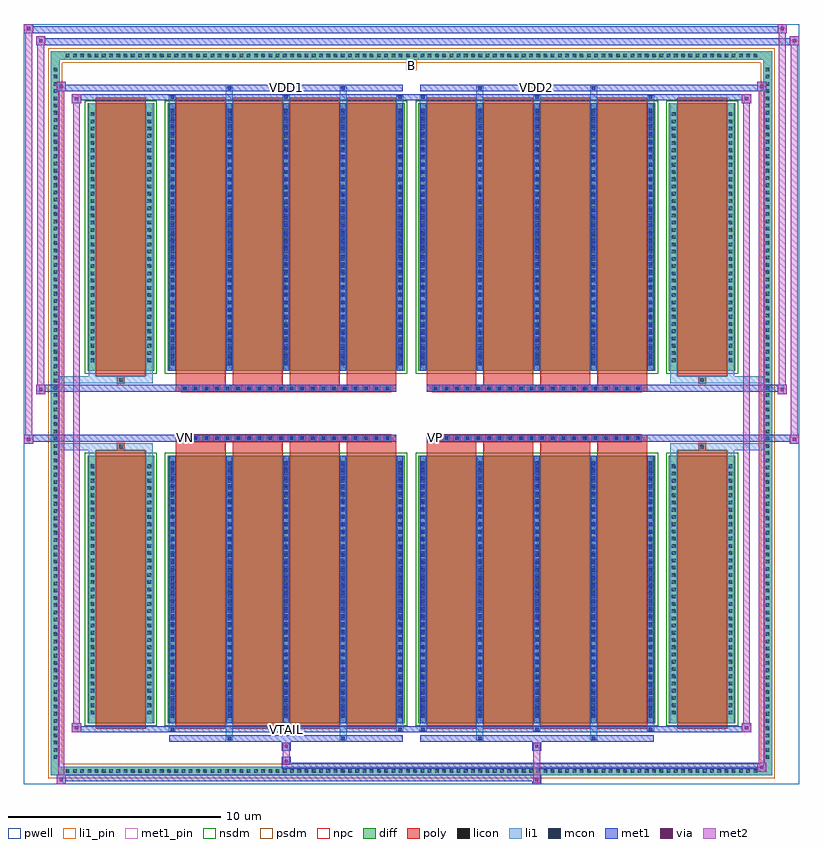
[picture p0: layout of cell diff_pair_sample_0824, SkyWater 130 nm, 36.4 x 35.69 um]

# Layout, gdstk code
import gdstk
lib = gdstk.Library(unit=1e-6, precision=5e-09)
def R(c, l, rs):  # rectangles x0, y0, x1, y1
    for r in rs: c.add(gdstk.rectangle(r[:2], r[2:], *l))
def A(c, l, x, y, w, h, nx, ny, dx, dy):  # array of equal rectangles
    R(c, l, [(x+i*dx, y+j*dy, x+i*dx+w, y+j*dy+h) for i in range(nx) for j in range(ny)])
def P(c, l, *ps):  # polygons
    for p in ps: c.add(gdstk.Polygon(p, *l))
pwell = (64, 44)
diff = (65, 20)
poly = (66, 20)
licon = (66, 44)
li1_pin = (67, 16)
li1 = (67, 20)
mcon = (67, 44)
met1_pin = (68, 16)
met1 = (68, 20)
via = (68, 44)
met2 = (69, 20)
nsdm = (93, 44)
psdm = (94, 20)
npc = (95, 20)

diff_pair_sample_0824 = lib.new_cell('diff_pair_sample_0824')
R(diff_pair_sample_0824, pwell, [(-18.2,-17.41,18.2,18.28), (-15.52,-15.6,-0.01,-0.8), (0.01,-15.6,15.52,-0.8), (-15.52,0.8,-0.01,15.6), (0.01,0.8,15.52,15.6)])
A(diff_pair_sample_0824, diff, -16.355, -17.01, 0.41, 0.41, 96, 2, 0.34, 33.61)
A(diff_pair_sample_0824, diff, -16.93, -16.355, 0.41, 0.41, 1, 96, 0, 0.34)
A(diff_pair_sample_0824, diff, 16.52, -16.355, 0.41, 0.41, 1, 96, 0, 0.34)
R(diff_pair_sample_0824, diff, [(-16.355,-17.01,16.355,-16.6), (-16.93,-16.355,-16.52,16.355), (16.52,-16.355,16.93,16.355), (-15.21,-14.555,-12.09,-1.985), (-11.45,-14.555,-0.32,-1.985), (0.32,-14.555,11.45,-1.985), (12.09,-14.555,15.21,-1.985), (-15.21,1.985,-12.09,14.555), (-11.45,1.985,-0.32,14.555), (0.32,1.985,11.45,14.555), (12.09,1.985,15.21,14.555), (-16.355,16.6,16.355,17.01)])
P(diff_pair_sample_0824, diff, [(16.93,17.01),(-16.93,17.01),(-16.93,-16.6),(-16.52,-16.6),(-16.52,16.6),(16.52,16.6),(16.52,-16.6),(-16.52,-16.6),(-16.93,-16.6),(-16.93,-17.01),(16.93,-17.01)])
A(diff_pair_sample_0824, poly, -11.06, -14.805, 2.34, 13.07, 4, 2, 2.67, 16.54)
A(diff_pair_sample_0824, poly, 0.71, -14.805, 2.34, 13.07, 4, 2, 2.67, 16.54)
A(diff_pair_sample_0824, poly, -11.06, -1.735, 2.34, 0.405, 4, 2, 2.67, 3.065)
A(diff_pair_sample_0824, poly, 0.71, -1.735, 2.34, 0.405, 4, 2, 2.67, 3.065)
A(diff_pair_sample_0824, poly, -10.8, -1.33, 0.33, 0.33, 20, 2, 0.5, 2.33)
A(diff_pair_sample_0824, poly, 0.97, -1.33, 0.33, 0.33, 20, 2, 0.5, 2.33)
R(diff_pair_sample_0824, poly, [(-14.82,-14.805,-12.48,-1.735), (12.48,-14.805,14.82,-1.735), (-13.815,-1.735,-13.485,-1.405), (-13.815,-1.735,-13.485,-1.405), (13.485,-1.735,13.815,-1.405), (13.485,-1.735,13.815,-1.405), (-11.06,-1.33,-0.71,-1), (0.71,-1.33,11.06,-1), (-11.06,1,-0.71,1.33), (0.71,1,11.06,1.33), (-13.815,1.405,-13.485,1.735), (-13.815,1.405,-13.485,1.735), (13.485,1.405,13.815,1.735), (13.485,1.405,13.815,1.735), (-14.82,1.735,-12.48,14.805), (12.48,1.735,14.82,14.805)])
A(diff_pair_sample_0824, licon, -16.235, -16.89, 0.17, 0.17, 96, 2, 0.34, 33.61)
A(diff_pair_sample_0824, licon, -16.81, -16.235, 0.17, 0.17, 1, 96, 0, 0.34)
A(diff_pair_sample_0824, licon, 16.64, -16.235, 0.17, 0.17, 1, 96, 0, 0.34)
A(diff_pair_sample_0824, licon, -15.07, -14.135, 0.17, 0.17, 1, 35, 0, 0.34)
A(diff_pair_sample_0824, licon, -12.4, -14.135, 0.17, 0.17, 1, 35, 0, 0.34)
A(diff_pair_sample_0824, licon, -11.31, -14.135, 0.17, 0.17, 5, 35, 2.67, 0.34)
A(diff_pair_sample_0824, licon, 0.46, -14.135, 0.17, 0.17, 5, 35, 2.67, 0.34)
A(diff_pair_sample_0824, licon, 12.23, -14.135, 0.17, 0.17, 1, 35, 0, 0.34)
A(diff_pair_sample_0824, licon, 14.9, -14.135, 0.17, 0.17, 1, 35, 0, 0.34)
A(diff_pair_sample_0824, licon, -10.72, -1.25, 0.17, 0.17, 20, 2, 0.5, 2.33)
A(diff_pair_sample_0824, licon, 1.05, -1.25, 0.17, 0.17, 20, 2, 0.5, 2.33)
A(diff_pair_sample_0824, licon, -15.07, 2.405, 0.17, 0.17, 1, 35, 0, 0.34)
A(diff_pair_sample_0824, licon, -12.4, 2.405, 0.17, 0.17, 1, 35, 0, 0.34)
A(diff_pair_sample_0824, licon, -11.31, 2.405, 0.17, 0.17, 5, 35, 2.67, 0.34)
A(diff_pair_sample_0824, licon, 0.46, 2.405, 0.17, 0.17, 5, 35, 2.67, 0.34)
A(diff_pair_sample_0824, licon, 12.23, 2.405, 0.17, 0.17, 1, 35, 0, 0.34)
A(diff_pair_sample_0824, licon, 14.9, 2.405, 0.17, 0.17, 1, 35, 0, 0.34)
R(diff_pair_sample_0824, licon, [(-13.735,-1.655,-13.565,-1.485), (13.565,-1.655,13.735,-1.485), (-13.735,1.485,-13.565,1.655), (13.565,1.485,13.735,1.655)])
R(diff_pair_sample_0824, li1_pin, [(-0.25,16.1,0.25,16.6)])
A(diff_pair_sample_0824, li1, -16.315, -16.97, 0.33, 0.33, 96, 2, 0.34, 33.61)
A(diff_pair_sample_0824, li1, -16.89, -16.315, 0.33, 0.33, 1, 96, 0, 0.34)
A(diff_pair_sample_0824, li1, 16.56, -16.315, 0.33, 0.33, 1, 96, 0, 0.34)
A(diff_pair_sample_0824, li1, -11.39, -14.93, 0.33, 0.375, 3, 2, 5.34, 29.485)
A(diff_pair_sample_0824, li1, -11.31, -14.93, 0.17, 0.17, 3, 2, 5.34, 29.69)
A(diff_pair_sample_0824, li1, 0.38, -14.93, 0.33, 0.375, 3, 2, 5.34, 29.485)
A(diff_pair_sample_0824, li1, 0.46, -14.93, 0.17, 0.17, 3, 2, 5.34, 29.69)
A(diff_pair_sample_0824, li1, -11.39, -14.555, 0.33, 12.57, 5, 2, 2.67, 16.54)
A(diff_pair_sample_0824, li1, 0.38, -14.555, 0.33, 12.57, 5, 2, 2.67, 16.54)
A(diff_pair_sample_0824, li1, -11.31, -14.295, 0.17, 0.17, 5, 34, 2.67, 0.36)
A(diff_pair_sample_0824, li1, -11.31, -14.295, 0.17, 12.05, 5, 2, 2.67, 16.54)
A(diff_pair_sample_0824, li1, 0.46, -14.295, 0.17, 0.17, 5, 34, 2.67, 0.36)
A(diff_pair_sample_0824, li1, 0.46, -14.295, 0.17, 12.05, 5, 2, 2.67, 16.54)
A(diff_pair_sample_0824, li1, -15.15, -14.215, 0.33, 0.33, 1, 35, 0, 0.34)
A(diff_pair_sample_0824, li1, -12.48, -14.215, 0.33, 0.33, 1, 35, 0, 0.34)
A(diff_pair_sample_0824, li1, -11.39, -14.215, 0.33, 0.33, 5, 35, 2.67, 0.34)
A(diff_pair_sample_0824, li1, 0.38, -14.215, 0.33, 0.33, 5, 35, 2.67, 0.34)
A(diff_pair_sample_0824, li1, 12.15, -14.215, 0.33, 0.33, 1, 35, 0, 0.34)
A(diff_pair_sample_0824, li1, 14.82, -14.215, 0.33, 0.33, 1, 35, 0, 0.34)
A(diff_pair_sample_0824, li1, -10.8, -1.33, 0.33, 0.33, 20, 2, 0.5, 2.33)
A(diff_pair_sample_0824, li1, 0.97, -1.33, 0.33, 0.33, 20, 2, 0.5, 2.33)
A(diff_pair_sample_0824, li1, -11.31, 2.245, 0.17, 0.17, 5, 34, 2.67, 0.36)
A(diff_pair_sample_0824, li1, 0.46, 2.245, 0.17, 0.17, 5, 34, 2.67, 0.36)
A(diff_pair_sample_0824, li1, -15.15, 2.325, 0.33, 0.33, 1, 35, 0, 0.34)
A(diff_pair_sample_0824, li1, -12.48, 2.325, 0.33, 0.33, 1, 35, 0, 0.34)
A(diff_pair_sample_0824, li1, -11.39, 2.325, 0.33, 0.33, 5, 35, 2.67, 0.34)
A(diff_pair_sample_0824, li1, 0.38, 2.325, 0.33, 0.33, 5, 35, 2.67, 0.34)
A(diff_pair_sample_0824, li1, 12.15, 2.325, 0.33, 0.33, 1, 35, 0, 0.34)
A(diff_pair_sample_0824, li1, 14.82, 2.325, 0.33, 0.33, 1, 35, 0, 0.34)
R(diff_pair_sample_0824, li1, [(-16.93,-17.01,-16.52,-16.6), (-16.93,-17.01,-16.52,-16.6), (-16.52,-17.01,16.52,-16.6), (16.52,-17.01,16.93,-16.6), (16.52,-17.01,16.93,-16.6), (-16.93,-16.6,-16.52,16.6), (16.52,-16.6,16.93,16.6), (-8.72,-15.36,-8.39,-14.555), (-8.64,-15.36,-8.47,-15.19), (-3.38,-15.36,-3.05,-14.555), (-3.3,-15.36,-3.13,-15.19), (3.05,-15.36,3.38,-14.555), (3.13,-15.36,3.3,-15.19), (8.39,-15.36,8.72,-14.555), (8.47,-15.36,8.64,-15.19), (-15.15,-14.555,-14.82,-1.985), (-12.48,-14.555,-12.15,-1.985), (12.15,-14.555,12.48,-1.985), (14.82,-14.555,15.15,-1.985), (-15.15,-1.985,-14.82,-1.405), (-12.48,-1.985,-12.15,-1.405), (12.15,-1.985,12.48,-1.405), (14.82,-1.985,15.15,-1.405), (-16.93,-1.735,-13.815,-1.405), (-15.15,-1.735,-13.815,-1.405), (-13.815,-1.735,-13.485,-1.405), (-13.485,-1.735,-12.15,-1.405), (12.15,-1.735,13.485,-1.405), (13.485,-1.735,13.815,-1.405), (13.485,-1.735,16.93,-1.405), (13.815,-1.735,15.15,-1.405), (-16.93,1.405,-13.815,1.735), (-15.15,1.405,-13.815,1.735), (-15.15,1.405,-14.82,1.985), (-13.815,1.405,-13.485,1.735), (-13.485,1.405,-12.15,1.735), (-12.48,1.405,-12.15,1.985), (12.15,1.405,13.485,1.735), (12.15,1.405,12.48,1.985), (13.485,1.405,13.815,1.735), (13.485,1.405,16.93,1.735), (13.815,1.405,15.15,1.735), (14.82,1.405,15.15,1.985), (-15.15,1.985,-14.82,14.555), (-12.48,1.985,-12.15,14.555), (12.15,1.985,12.48,14.555), (14.82,1.985,15.15,14.555), (-8.72,14.555,-8.39,15.36), (-3.38,14.555,-3.05,15.36), (3.05,14.555,3.38,15.36), (8.39,14.555,8.72,15.36), (-8.64,15.19,-8.47,15.36), (-3.3,15.19,-3.13,15.36), (3.13,15.19,3.3,15.36), (8.47,15.19,8.64,15.36), (-16.93,16.6,-16.52,17.01), (-16.93,16.6,-16.52,17.01), (-16.52,16.6,16.52,17.01), (16.52,16.6,16.93,17.01), (16.52,16.6,16.93,17.01)])
A(diff_pair_sample_0824, mcon, -11.31, -14.93, 0.17, 0.17, 3, 2, 5.34, 29.69)
A(diff_pair_sample_0824, mcon, 0.46, -14.93, 0.17, 0.17, 3, 2, 5.34, 29.69)
A(diff_pair_sample_0824, mcon, -11.31, -14.295, 0.17, 0.17, 5, 34, 2.67, 0.36)
A(diff_pair_sample_0824, mcon, 0.46, -14.295, 0.17, 0.17, 5, 34, 2.67, 0.36)
A(diff_pair_sample_0824, mcon, -10.72, -1.25, 0.17, 0.17, 20, 2, 0.5, 2.33)
A(diff_pair_sample_0824, mcon, 1.05, -1.25, 0.17, 0.17, 20, 2, 0.5, 2.33)
A(diff_pair_sample_0824, mcon, -11.31, 2.245, 0.17, 0.17, 5, 34, 2.67, 0.36)
A(diff_pair_sample_0824, mcon, 0.46, 2.245, 0.17, 0.17, 5, 34, 2.67, 0.36)
R(diff_pair_sample_0824, mcon, [(-8.64,-15.36,-8.47,-15.19), (-3.3,-15.36,-3.13,-15.19), (3.13,-15.36,3.3,-15.19), (8.47,-15.36,8.64,-15.19), (-8.64,15.19,-8.47,15.36), (-3.3,15.19,-3.13,15.36), (3.13,15.19,3.3,15.36), (8.47,15.19,8.64,15.36)])
R(diff_pair_sample_0824, met1_pin, [(-6.02,-14.97,-5.75,-14.7), (-10.77,-1.29,-10.5,-1.02), (1,-1.29,1.27,-1.02), (-6.02,15.15,-5.75,15.42), (5.75,15.15,6.02,15.42)])
A(diff_pair_sample_0824, met1, -11.37, -14.99, 0.29, 0.29, 3, 2, 5.34, 29.69)
A(diff_pair_sample_0824, met1, 0.4, -14.99, 0.29, 0.29, 3, 2, 5.34, 29.69)
A(diff_pair_sample_0824, met1, -11.37, -14.555, 0.29, 12.57, 5, 2, 2.67, 16.54)
A(diff_pair_sample_0824, met1, 0.4, -14.555, 0.29, 12.57, 5, 2, 2.67, 16.54)
A(diff_pair_sample_0824, met1, -11.37, -14.355, 0.29, 0.29, 5, 34, 2.67, 0.36)
A(diff_pair_sample_0824, met1, 0.4, -14.355, 0.29, 0.29, 5, 34, 2.67, 0.36)
A(diff_pair_sample_0824, met1, -10.78, -1.31, 0.29, 0.29, 20, 2, 0.5, 2.33)
A(diff_pair_sample_0824, met1, 0.99, -1.31, 0.29, 0.29, 20, 2, 0.5, 2.33)
A(diff_pair_sample_0824, met1, -11.37, 2.185, 0.29, 0.29, 5, 34, 2.67, 0.36)
A(diff_pair_sample_0824, met1, 0.4, 2.185, 0.29, 0.29, 5, 34, 2.67, 0.36)
R(diff_pair_sample_0824, met1, [(-16.66,-17.41,-16.23,-16.98), (5.67,-17.41,6.1,-16.98), (-16.66,-17.27,6.1,-16.98), (16.23,-16.84,16.66,-16.41), (-6.1,-16.7,16.66,-16.41), (-6.1,-16.56,-5.67,-16.13), (-6.1,-15.85,-5.67,-15.42), (5.67,-15.85,6.1,-15.42), (-11.37,-15.42,-0.4,-15.13), (-8.7,-15.42,-8.41,-15.13), (-3.36,-15.42,-3.07,-15.13), (0.4,-15.42,11.37,-15.13), (3.07,-15.42,3.36,-15.13), (8.41,-15.42,8.7,-15.13), (-15.95,-14.99,-15.52,-14.56), (-15.95,-14.99,-11.37,-14.7), (-11.37,-14.99,-0.4,-14.7), (-0.4,-14.99,0.4,-14.7), (0.4,-14.99,11.37,-14.7), (11.37,-14.99,15.95,-14.7), (15.52,-14.99,15.95,-14.56), (-18.2,-1.43,-17.77,-1), (17.77,-1.43,18.2,-1), (-18.2,-1.33,-0.71,-1), (-11.06,-1.33,-0.71,-1), (0.71,-1.33,11.06,-1), (0.71,-1.33,18.2,-1), (-17.63,0.9,-17.2,1.33), (17.2,0.9,17.63,1.33), (-17.63,1,-11.06,1.33), (-11.06,1,-0.71,1.33), (0.71,1,11.06,1.33), (11.06,1,17.63,1.33), (-15.95,14.56,-15.52,14.99), (15.52,14.56,15.95,14.99), (-15.95,14.7,-11.37,14.99), (-11.37,14.7,-0.4,14.99), (-0.4,14.7,0.4,14.99), (0.4,14.7,11.37,14.99), (11.37,14.7,15.95,14.99), (-16.66,15.13,-16.23,15.56), (-16.66,15.13,-11.37,15.42), (-11.37,15.13,-0.4,15.42), (-8.7,15.13,-8.41,15.42), (-3.36,15.13,-3.07,15.42), (0.4,15.13,11.37,15.42), (3.07,15.13,3.36,15.42), (8.41,15.13,8.7,15.42), (11.37,15.13,16.66,15.42), (16.23,15.13,16.66,15.56), (-17.63,17.28,-17.2,17.71), (-17.63,17.28,-15.52,17.61), (-15.52,17.28,15.52,17.61), (15.52,17.28,18.2,17.61), (17.77,17.28,18.2,17.71), (-18.2,17.85,-17.77,18.28), (-18.2,17.85,-15.52,18.18), (-15.52,17.85,15.52,18.18), (15.52,17.85,17.63,18.18), (17.2,17.85,17.63,18.28)])
R(diff_pair_sample_0824, via, [(-16.52,-17.27,-16.37,-17.12), (5.81,-17.27,5.96,-17.12), (16.37,-16.7,16.52,-16.55), (-5.96,-16.42,-5.81,-16.27), (-5.96,-15.71,-5.81,-15.56), (5.81,-15.71,5.96,-15.56), (-15.81,-14.85,-15.66,-14.7), (15.66,-14.85,15.81,-14.7), (-18.06,-1.29,-17.91,-1.14), (17.91,-1.29,18.06,-1.14), (-17.49,1.04,-17.34,1.19), (17.34,1.04,17.49,1.19), (-15.81,14.7,-15.66,14.85), (15.66,14.7,15.81,14.85), (-16.52,15.27,-16.37,15.42), (16.37,15.27,16.52,15.42), (-17.49,17.42,-17.34,17.57), (17.91,17.42,18.06,17.57), (-18.06,17.99,-17.91,18.14), (17.34,17.99,17.49,18.14)])
R(diff_pair_sample_0824, met2, [(-16.66,-17.41,-16.23,-16.98), (-16.59,-17.41,-16.3,15.56), (-16.3,-17.41,-16.23,-16.98), (-16.61,-17.36,-16.28,-17.03), (5.72,-17.36,6.05,-17.03), (5.72,-17.03,6.05,-15.8), (16.23,-16.84,16.66,-16.41), (16.3,-16.84,16.59,15.56), (16.59,-16.84,16.66,-16.41), (16.28,-16.79,16.61,-16.46), (-6.05,-16.51,-5.72,-16.18), (-6.05,-16.18,-5.72,-15.8), (-6.05,-15.8,-5.72,-15.47), (5.72,-15.8,6.05,-15.47), (-15.95,-14.99,-15.52,-14.56), (-15.88,-14.99,-15.59,14.99), (-15.59,-14.99,-15.52,-14.56), (15.52,-14.99,15.95,-14.56), (15.59,-14.99,15.88,14.99), (15.88,-14.99,15.95,-14.56), (-15.9,-14.94,-15.57,-14.61), (15.57,-14.94,15.9,-14.61), (-18.2,-1.43,-17.77,-1), (-18.15,-1.43,-17.82,18.28), (-17.82,-1.43,-17.77,-1), (17.77,-1.43,18.2,-1), (17.82,-1.43,18.15,17.71), (18.15,-1.43,18.2,-1), (-18.15,-1.38,-17.82,-1.05), (17.82,-1.38,18.15,-1.05), (-17.63,0.9,-17.2,1.33), (-17.58,0.9,-17.25,17.71), (-17.25,0.9,-17.2,1.33), (17.2,0.9,17.63,1.33), (17.25,0.9,17.58,18.28), (17.58,0.9,17.63,1.33), (-17.58,0.95,-17.25,1.28), (17.25,0.95,17.58,1.28), (-15.95,14.56,-15.52,14.99), (-15.59,14.56,-15.52,14.99), (15.52,14.56,15.95,14.99), (15.88,14.56,15.95,14.99), (-15.9,14.61,-15.57,14.94), (15.57,14.61,15.9,14.94), (-16.66,15.13,-16.23,15.56), (-16.3,15.13,-16.23,15.56), (16.23,15.13,16.66,15.56), (16.59,15.13,16.66,15.56), (-16.61,15.18,-16.28,15.51), (16.28,15.18,16.61,15.51), (-17.63,17.28,-17.2,17.71), (-17.25,17.28,-17.2,17.71), (17.77,17.28,18.2,17.71), (18.15,17.28,18.2,17.71), (-17.58,17.33,-17.25,17.66), (17.82,17.33,18.15,17.66), (-18.2,17.85,-17.77,18.28), (-17.82,17.85,-17.77,18.28), (17.2,17.85,17.63,18.28), (17.58,17.85,17.63,18.28), (-18.15,17.9,-17.82,18.23), (17.25,17.9,17.58,18.23)])
R(diff_pair_sample_0824, nsdm, [(-15.34,-14.685,-11.96,-1.855), (-11.58,-14.685,-0.19,-1.855), (0.19,-14.685,11.58,-1.855), (11.96,-14.685,15.34,-1.855), (-15.34,1.855,-11.96,14.685), (-11.58,1.855,-0.19,14.685), (0.19,1.855,11.58,14.685), (11.96,1.855,15.34,14.685)])
P(diff_pair_sample_0824, psdm, [(17.06,17.14),(-17.06,17.14),(-17.06,-16.47),(-16.39,-16.47),(-16.39,16.47),(16.39,16.47),(16.39,-16.47),(-16.39,-16.47),(-17.06,-16.47),(-17.06,-17.14),(17.06,-17.14)])
A(diff_pair_sample_0824, npc, -10.82, -1.35, 0.37, 0.37, 20, 2, 0.5, 2.33)
A(diff_pair_sample_0824, npc, 0.95, -1.35, 0.37, 0.37, 20, 2, 0.5, 2.33)
R(diff_pair_sample_0824, npc, [(-13.835,-1.755,-13.465,-1.385), (13.465,-1.755,13.835,-1.385), (-10.82,-1.35,-9.95,-0.98), (-10.82,-1.35,-9.95,-0.98), (-10.32,-1.35,-9.45,-0.98), (-10.32,-1.35,-9.45,-0.98), (-9.82,-1.35,-8.95,-0.98), (-9.82,-1.35,-8.95,-0.98), (-9.32,-1.35,-8.45,-0.98), (-9.32,-1.35,-8.45,-0.98), (-8.82,-1.35,-7.95,-0.98), (-8.82,-1.35,-7.95,-0.98), (-8.32,-1.35,-7.45,-0.98), (-8.32,-1.35,-7.45,-0.98), (-7.82,-1.35,-6.95,-0.98), (-7.82,-1.35,-6.95,-0.98), (-7.32,-1.35,-6.45,-0.98), (-7.32,-1.35,-6.45,-0.98), (-6.82,-1.35,-5.95,-0.98), (-6.82,-1.35,-5.95,-0.98), (-6.32,-1.35,-5.45,-0.98), (-6.32,-1.35,-5.45,-0.98), (-5.82,-1.35,-4.95,-0.98), (-5.82,-1.35,-4.95,-0.98), (-5.32,-1.35,-4.45,-0.98), (-5.32,-1.35,-4.45,-0.98), (-4.82,-1.35,-3.95,-0.98), (-4.82,-1.35,-3.95,-0.98), (-4.32,-1.35,-3.45,-0.98), (-4.32,-1.35,-3.45,-0.98), (-3.82,-1.35,-2.95,-0.98), (-3.82,-1.35,-2.95,-0.98), (-3.32,-1.35,-2.45,-0.98), (-3.32,-1.35,-2.45,-0.98), (-2.82,-1.35,-1.95,-0.98), (-2.82,-1.35,-1.95,-0.98), (-2.32,-1.35,-1.45,-0.98), (-2.32,-1.35,-1.45,-0.98), (-1.82,-1.35,-0.95,-0.98), (-1.82,-1.35,-0.95,-0.98), (0.95,-1.35,1.82,-0.98), (0.95,-1.35,1.82,-0.98), (1.45,-1.35,2.32,-0.98), (1.45,-1.35,2.32,-0.98), (1.95,-1.35,2.82,-0.98), (1.95,-1.35,2.82,-0.98), (2.45,-1.35,3.32,-0.98), (2.45,-1.35,3.32,-0.98), (2.95,-1.35,3.82,-0.98), (2.95,-1.35,3.82,-0.98), (3.45,-1.35,4.32,-0.98), (3.45,-1.35,4.32,-0.98), (3.95,-1.35,4.82,-0.98), (3.95,-1.35,4.82,-0.98), (4.45,-1.35,5.32,-0.98), (4.45,-1.35,5.32,-0.98), (4.95,-1.35,5.82,-0.98), (4.95,-1.35,5.82,-0.98), (5.45,-1.35,6.32,-0.98), (5.45,-1.35,6.32,-0.98), (5.95,-1.35,6.82,-0.98), (5.95,-1.35,6.82,-0.98), (6.45,-1.35,7.32,-0.98), (6.45,-1.35,7.32,-0.98), (6.95,-1.35,7.82,-0.98), (6.95,-1.35,7.82,-0.98), (7.45,-1.35,8.32,-0.98), (7.45,-1.35,8.32,-0.98), (7.95,-1.35,8.82,-0.98), (7.95,-1.35,8.82,-0.98), (8.45,-1.35,9.32,-0.98), (8.45,-1.35,9.32,-0.98), (8.95,-1.35,9.82,-0.98), (8.95,-1.35,9.82,-0.98), (9.45,-1.35,10.32,-0.98), (9.45,-1.35,10.32,-0.98), (9.95,-1.35,10.82,-0.98), (9.95,-1.35,10.82,-0.98), (-10.82,0.98,-9.95,1.35), (-10.82,0.98,-9.95,1.35), (-10.32,0.98,-9.45,1.35), (-10.32,0.98,-9.45,1.35), (-9.82,0.98,-8.95,1.35), (-9.82,0.98,-8.95,1.35), (-9.32,0.98,-8.45,1.35), (-9.32,0.98,-8.45,1.35), (-8.82,0.98,-7.95,1.35), (-8.82,0.98,-7.95,1.35), (-8.32,0.98,-7.45,1.35), (-8.32,0.98,-7.45,1.35), (-7.82,0.98,-6.95,1.35), (-7.82,0.98,-6.95,1.35), (-7.32,0.98,-6.45,1.35), (-7.32,0.98,-6.45,1.35), (-6.82,0.98,-5.95,1.35), (-6.82,0.98,-5.95,1.35), (-6.32,0.98,-5.45,1.35), (-6.32,0.98,-5.45,1.35), (-5.82,0.98,-4.95,1.35), (-5.82,0.98,-4.95,1.35), (-5.32,0.98,-4.45,1.35), (-5.32,0.98,-4.45,1.35), (-4.82,0.98,-3.95,1.35), (-4.82,0.98,-3.95,1.35), (-4.32,0.98,-3.45,1.35), (-4.32,0.98,-3.45,1.35), (-3.82,0.98,-2.95,1.35), (-3.82,0.98,-2.95,1.35), (-3.32,0.98,-2.45,1.35), (-3.32,0.98,-2.45,1.35), (-2.82,0.98,-1.95,1.35), (-2.82,0.98,-1.95,1.35), (-2.32,0.98,-1.45,1.35), (-2.32,0.98,-1.45,1.35), (-1.82,0.98,-0.95,1.35), (-1.82,0.98,-0.95,1.35), (0.95,0.98,1.82,1.35), (0.95,0.98,1.82,1.35), (1.45,0.98,2.32,1.35), (1.45,0.98,2.32,1.35), (1.95,0.98,2.82,1.35), (1.95,0.98,2.82,1.35), (2.45,0.98,3.32,1.35), (2.45,0.98,3.32,1.35), (2.95,0.98,3.82,1.35), (2.95,0.98,3.82,1.35), (3.45,0.98,4.32,1.35), (3.45,0.98,4.32,1.35), (3.95,0.98,4.82,1.35), (3.95,0.98,4.82,1.35), (4.45,0.98,5.32,1.35), (4.45,0.98,5.32,1.35), (4.95,0.98,5.82,1.35), (4.95,0.98,5.82,1.35), (5.45,0.98,6.32,1.35), (5.45,0.98,6.32,1.35), (5.95,0.98,6.82,1.35), (5.95,0.98,6.82,1.35), (6.45,0.98,7.32,1.35), (6.45,0.98,7.32,1.35), (6.95,0.98,7.82,1.35), (6.95,0.98,7.82,1.35), (7.45,0.98,8.32,1.35), (7.45,0.98,8.32,1.35), (7.95,0.98,8.82,1.35), (7.95,0.98,8.82,1.35), (8.45,0.98,9.32,1.35), (8.45,0.98,9.32,1.35), (8.95,0.98,9.82,1.35), (8.95,0.98,9.82,1.35), (9.45,0.98,10.32,1.35), (9.45,0.98,10.32,1.35), (9.95,0.98,10.82,1.35), (9.95,0.98,10.82,1.35), (-13.835,1.385,-13.465,1.755), (13.465,1.385,13.835,1.755)])
diff_pair_sample_0824.add(gdstk.Label('VTAIL', (-5.885,-14.835), layer=68, texttype=5))
diff_pair_sample_0824.add(gdstk.Label('VN', (-10.635,-1.155), layer=68, texttype=5))
diff_pair_sample_0824.add(gdstk.Label('VP', (1.135,-1.155), layer=68, texttype=5))
diff_pair_sample_0824.add(gdstk.Label('B', (0,16.35), layer=67, texttype=5))
diff_pair_sample_0824.add(gdstk.Label('VDD2', (5.885,15.285), layer=68, texttype=5))
diff_pair_sample_0824.add(gdstk.Label('VDD1', (-5.885,15.285), layer=68, texttype=5))

lib.write_gds('diff_pair_sample_0824.gds')
